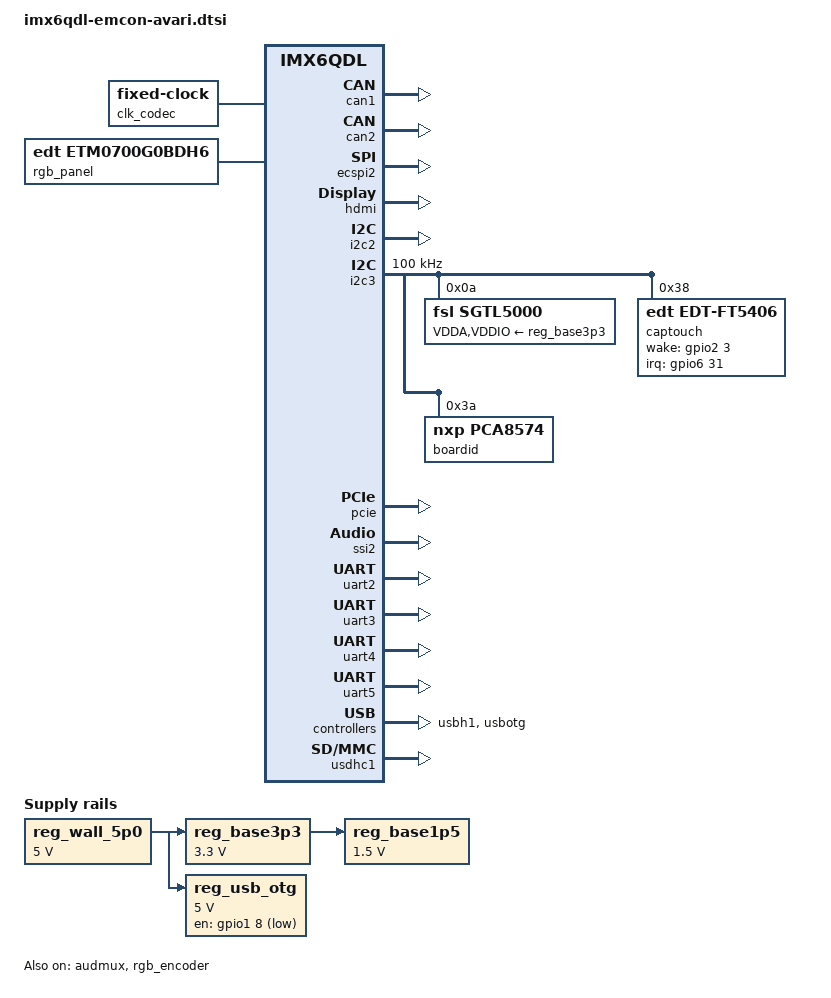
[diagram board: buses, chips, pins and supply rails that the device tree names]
// SPDX-License-Identifier: (GPL-2.0 OR MIT)
//
// Copyright (C) 2018 emtrion GmbH
//

/ {
	aliases {
		boardid = &boardid;
		mmc0 = &usdhc3;
		mmc1 = &usdhc2;
		mmc2 = &usdhc1;
		mmc3 = &usdhc4;
	};

	reg_wall_5p0: reg-wall5p0 {
		compatible = "regulator-fixed";
		regulator-name = "Main-Supply";
		regulator-min-microvolt = <5000000>;
		regulator-max-microvolt = <5000000>;
		regulator-always-on;
		regulator-boot-on;
	};

	reg_base3p3: reg-base3p3 {
		compatible = "regulator-fixed";
		vin-supply = <&reg_wall_5p0>;
		regulator-name = "3V3-avari";
		regulator-min-microvolt = <3300000>;
		regulator-max-microvolt = <3300000>;
		regulator-always-on;
		regulator-boot-on;
	};

	reg_base1p5: reg-base1p5 {
		compatible = "regulator-fixed";
		vin-supply = <&reg_base3p3>;
		regulator-name = "1V5-avari";
		regulator-min-microvolt = <1500000>;
		regulator-max-microvolt = <1500000>;
		regulator-always-on;
		regulator-boot-on;
	};

	reg_usb_otg: reg-otgvbus {
		compatible = "regulator-fixed";
		vin-supply = <&reg_wall_5p0>;
		regulator-name = "OTG_VBUS";
		regulator-min-microvolt = <5000000>;
		regulator-max-microvolt = <5000000>;
		gpio = <&gpio1 8 GPIO_ACTIVE_LOW>;
		regulator-always-on;
	};

	clk_codec: clock-codec {
		compatible = "fixed-clock";
		#clock-cells = <0>;
		clock-frequency = <12000000>;
	};

	sound {
		compatible = "fsl,imx-audio-sgtl5000";
		model = "emCON-avari-sgtl5000";
		ssi-controller = <&ssi2>;
		audio-codec = <&sgtl5000>;
		audio-routing =
			"Headphone Jack", "HP_OUT";
		mux-int-port = <2>;
		mux-ext-port = <3>;
	};
};

&audmux {
	pinctrl-names = "default";
	pinctrl-0 = <&pinctrl_audmux>;
	status = "okay";
};

&can1 {
	status = "okay";
};

&can2 {
	status = "okay";
};

&ecspi2 {
	status = "okay";
};

&hdmi {
	ddc-i2c-bus = <&i2c2>;
	status = "okay";
};

&i2c2 {
	status = "okay";
};

&i2c3 {
	clock-frequency = <100000>;
	pinctrl-names = "default";
	pinctrl-0 = <&pinctrl_i2c3>;
	status = "okay";

	sgtl5000: audio-codec@a {
		compatible = "fsl,sgtl5000";
		reg = <0x0a>;
		#sound-dai-cells = <0>;
		clocks = <&clk_codec>;
		VDDA-supply = <&reg_base3p3>;
		VDDIO-supply = <&reg_base3p3>;
	};

	captouch: touchscreen@38 {
		compatible = "edt,edt-ft5406";
		reg = <0x38>;
		pinctrl-names = "default";
		pinctrl-0 = <&pinctrl_irq_touch2 &pinctrl_emcon_gpio4>;
		interrupt-parent = <&gpio6>;
		interrupts = <31 IRQ_TYPE_EDGE_FALLING>;
		wake-gpios = <&gpio2 3 GPIO_ACTIVE_HIGH>;
		wakeup-source;
	};

	boardid: gpio@3a {
		compatible = "nxp,pca8574";
		reg = <0x3a>;
		gpio-controller;
		#gpio-cells = <2>;
	};
};

&pcie {
	status = "okay";
};

&rgb_encoder {
	status = "okay";
};

&rgb_panel {
	compatible = "edt,etm0700g0bdh6";
	status = "okay";
};

&ssi2 {
	status = "okay";
};

&uart2 {
	status = "okay";
	uart-has-rtscts;
};

&uart3 {
	status = "okay";
};

&uart4 {
	status = "okay";
};

&uart5 {
	status = "okay";
};

&usbh1 {
	status = "okay";
};

&usbotg {
	status = "okay";
};

&usdhc1 {
	status = "okay";
};
